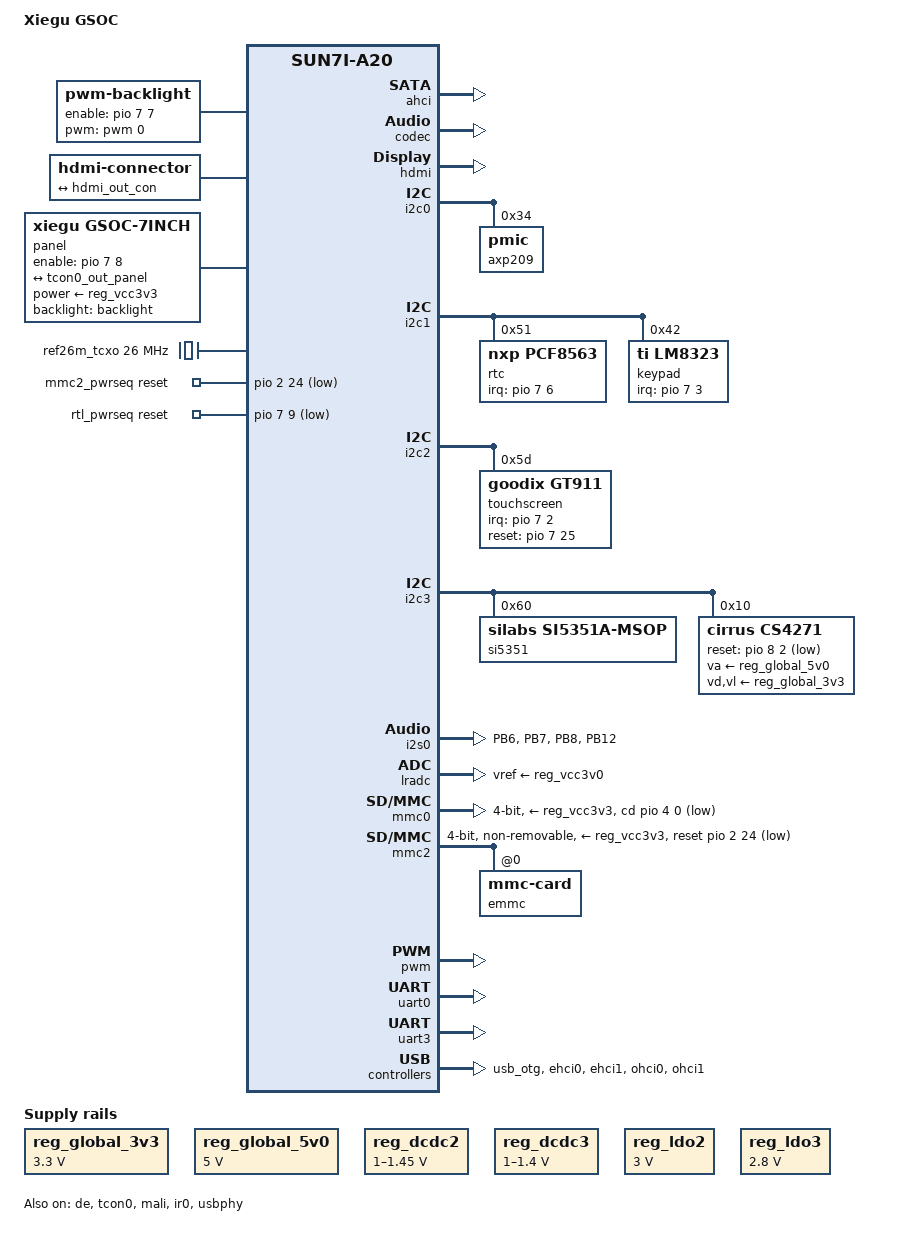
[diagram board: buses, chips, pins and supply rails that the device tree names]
// SPDX-License-Identifier: (GPL-2.0+ OR MIT)
/*
 * Xiegu GSOC head unit: Allwinner A20, AXP209, CS4271 codec, 1024x600 RGB
 * panel, GT911 touch, LM8323 keypad, Si5351 clock generator.
 *
 * Replaces the decompiled "drm-f" tree. Semantically equivalent to it
 * (see equivalence.txt); vendor oddities are kept and marked "vendor:".
 */

/dts-v1/;
#include "allwinner/sun7i-a20.dtsi"
#include "allwinner/sunxi-common-regulators.dtsi"

#include <dt-bindings/gpio/gpio.h>
#include <dt-bindings/input/input.h>
#include <dt-bindings/interrupt-controller/irq.h>
#include <dt-bindings/pwm/pwm.h>

/ {
	model = "Xiegu GSOC";
	compatible = "xiegu,gsoc", "allwinner,sun7i-a20";

	/* mmcN pins mmcblkN: SD must be mmcblk0 (root=/dev/mmcblk0p2), never eMMC */
	aliases {
		mmc0 = &mmc0;
		mmc1 = &mmc2;
		mmc2 = &mmc3;
		serial0 = &uart0;
	};

	chosen {
		stdout-path = "serial0:115200n8";
	};

	backlight: backlight {
		compatible = "pwm-backlight";
		pwms = <&pwm 0 50000 PWM_POLARITY_INVERTED>;
		enable-gpios = <&pio 7 7 GPIO_ACTIVE_HIGH>;		/* PH7 */
		brightness-levels = <0 10 20 30 40 50 60 70 80 90 100>;
		default-brightness-level = <10>;
	};

	hdmi-connector {
		compatible = "hdmi-connector";
		type = "a";

		port {
			hdmi_con_in: endpoint {
				remote-endpoint = <&hdmi_out_con>;
			};
		};
	};

	panel: panel {
		compatible = "xiegu,gsoc-7inch", "panel-dpi";
		/* panel-simple lights the backlight after the panel is up (no udev hold) */
		backlight = <&backlight>;
		power-supply = <&reg_vcc3v3>;
		enable-gpios = <&pio 7 8 GPIO_ACTIVE_HIGH>;		/* PH8 */

		panel-timing {
			clock-frequency = <45000000>;
			hactive = <1024>;
			hfront-porch = <16>;
			hback-porch = <150>;
			hsync-len = <10>;
			hsync-active = <0>;
			vactive = <600>;
			vfront-porch = <2>;
			vback-porch = <21>;
			vsync-len = <2>;
			vsync-active = <0>;
			de-active = <1>;
			pixelclk-active = <1>;
		};

		port {
			panel_in: endpoint {
				remote-endpoint = <&tcon0_out_panel>;
			};
		};
	};

	/* vendor: u-boot hands over a 1024x600 simplefb here; kept disabled */
	framebuffer@7fda8000 {
		compatible = "simple-framebuffer";
		reg = <0x7fda8000 0x258000>;
		width = <1024>;
		height = <600>;
		stride = <4096>;
		format = "x8r8g8b8";
		status = "disabled";
	};

	reserved-memory {
		/* 128 MiB default CMA; replaces the dtsi 96 MiB default-pool */
		cma_pool: cma@4a000000 {
			compatible = "shared-dma-pool";
			alloc-ranges = <0x4a000000 0x8000000>;
			size = <0x8000000>;
			reusable;
			linux,cma-default;
		};

		/* u-boot framebuffer, kept out of the kernel's linear map */
		framebuffer@7fda8000 {
			reg = <0x7fda8000 0x258000>;
			no-map;
		};
	};

	/* 3.3 V / 5 V rails with no control GPIO */
	reg_global_3v3: global-v33 {
		compatible = "regulator-fixed";
		regulator-name = "global-3v3";
		regulator-min-microvolt = <3300000>;
		regulator-max-microvolt = <3300000>;
		enable-active-high;
		startup-delay-us = <100000>;
	};

	reg_global_5v0: global-v50 {
		compatible = "regulator-fixed";
		regulator-name = "global-5v0";
		regulator-min-microvolt = <5000000>;
		regulator-max-microvolt = <5000000>;
		enable-active-high;
		startup-delay-us = <100000>;
	};

	i2s_clk: i2s-clk {
		compatible = "fixed-clock";
		#clock-cells = <0>;
		clock-frequency = <24576000>;
	};

	ref26m_tcxo: ref26M-tcxo {
		compatible = "fixed-clock";
		#clock-cells = <0>;
		clock-frequency = <26000000>;
	};

	mmc2_pwrseq: mmc2_pwrseq {
		compatible = "mmc-pwrseq-emmc";
		reset-gpios = <&pio 2 24 GPIO_ACTIVE_LOW>;		/* PC24 */
	};

	/* vendor: probes on its own and drives PH9 (USB Wi-Fi reset), no mmc user */
	rtl_pwrseq {
		compatible = "mmc-pwrseq-simple";
		reset-gpios = <&pio 7 9 GPIO_ACTIVE_LOW>;		/* PH9 */
	};

	sound {
		compatible = "simple-audio-card";
		simple-audio-card,name = "GSOC-Sound-Card";
		simple-audio-card,format = "i2s";
		simple-audio-card,mclk-fs = <128>;
		simple-audio-card,bitclock-master = <&sound_codec>;
		simple-audio-card,frame-master = <&sound_codec>;
		simple-audio-card,widgets = "Line", "Line In",
					    "Line", "Line Out";
		simple-audio-card,routing = "Line Out", "AOUTA+",
					    "Line Out", "AOUTA-",
					    "Line Out", "AOUTB+",
					    "Line Out", "AOUTB-",
					    "AINA", "Line In",
					    "AINB", "Line In";

		sound_codec: simple-audio-card,codec {
			sound-dai = <&cs4271>;
			clocks = <&i2s_clk>;
			system-clock-direction = "out";
		};

		simple-audio-card,cpu {
			/* vendor: stray trailing 0 cell, harmless with #sound-dai-cells = 0 */
			sound-dai = <&i2s0 0>;
			clocks = <&i2s_clk>;
		};
	};
};

/*
 * vendor: keep the u-boot-neutralised /chosen stubs (plain compatible, no
 * pipeline or clocks) so u-boot cannot match and enable them.
 */
&{/chosen/framebuffer-lcd0} {
	compatible = "simple-framebuffer";
	/delete-property/ allwinner,pipeline;
	/delete-property/ clocks;
};

&{/chosen/framebuffer-lcd0-hdmi} {
	compatible = "simple-framebuffer";
	/delete-property/ allwinner,pipeline;
	/delete-property/ clocks;
};

&{/chosen/framebuffer-lcd0-tve0} {
	compatible = "simple-framebuffer";
	/delete-property/ allwinner,pipeline;
	/delete-property/ clocks;
};

/delete-node/ &{/reserved-memory/default-pool};

&ahci {
	target-supply = <&reg_ahci_5v>;
	status = "okay";
};

&reg_ahci_5v {
	status = "okay";
};

/* vendor: always-on 5 V, no GPIO (PH6 is the PCF8563 interrupt, not VBUS) */
&reg_usb1_vbus {
	/delete-property/ gpio;
	/delete-property/ enable-active-high;
	regulator-always-on;
	status = "okay";
};

&codec {
	allwinner,audio-routing = "Headphone", "HP",
				  "Speaker", "LINEOUT",
				  "LINEIN", "Line In",
				  "MIC1", "HBIAS",
				  "MIC1", "Mic1",
				  "MIC2", "HBIAS",
				  "MIC2", "Mic2";
	status = "okay";
};

&de {
	status = "okay";
};

&hdmi {
	status = "okay";
};

&hdmi_out {
	hdmi_out_con: endpoint {
		remote-endpoint = <&hdmi_con_in>;
	};
};

/*
 * vendor: keep tcon0 on the plain sun7i-a20-tcon match (no LVDS support, no
 * "lvds" reset): known good for the RGB panel. The dtsi uses ...-tcon0.
 */
&tcon0 {
	compatible = "allwinner,sun7i-a20-tcon";
	resets = <&ccu RST_TCON0>;
	reset-names = "lcd";
	pinctrl-names = "default";
	pinctrl-0 = <&lcd_rgb888_pins>;
	status = "okay";
};

&tcon0_out {
	tcon0_out_panel: endpoint@0 {
		reg = <0>;
		remote-endpoint = <&panel_in>;
	};
};

&mali {
	memory-region = <&cma_pool>;
	status = "okay";
};

&i2c0 {
	status = "okay";

	axp209: pmic@34 {
		reg = <0x34>;
		interrupt-parent = <&nmi_intc>;
		interrupts = <0 IRQ_TYPE_LEVEL_LOW>;
	};
};

#include "allwinner/axp209.dtsi"

/* not in the vendor tree: no AXP temperature hwmon */
/delete-node/ &{/pmic-temp};

&ac_power_supply {
	status = "okay";
};

&reg_dcdc2 {
	regulator-always-on;
	regulator-min-microvolt = <1000000>;
	regulator-max-microvolt = <1450000>;
	regulator-name = "vdd-cpu";
};

&reg_dcdc3 {
	regulator-always-on;
	regulator-min-microvolt = <1000000>;
	regulator-max-microvolt = <1400000>;
	regulator-name = "vdd-int-dll";
};

&reg_ldo1 {
	regulator-name = "vdd-rtc";
};

&reg_ldo2 {
	regulator-always-on;
	regulator-min-microvolt = <3000000>;
	regulator-max-microvolt = <3000000>;
	regulator-name = "avcc";
};

&reg_ldo3 {
	regulator-always-on;
	regulator-min-microvolt = <2800000>;
	regulator-max-microvolt = <2800000>;
	regulator-name = "csi0-io";
};

&i2c1 {
	status = "okay";

	rtc@51 {
		compatible = "nxp,pcf8563";
		reg = <0x51>;
		interrupt-parent = <&pio>;
		interrupts = <7 6 IRQ_TYPE_EDGE_FALLING>;	/* PH6 */
		interrupt-names = "irq";
		irq-gpios = <&pio 7 6 GPIO_ACTIVE_HIGH>;
	};

	keypad@42 {
		compatible = "ti,lm8323";
		reg = <0x42>;
		interrupt-parent = <&pio>;
		interrupts = <7 3 IRQ_TYPE_EDGE_FALLING>;	/* PH3 */
		interrupt-names = "irq";
		irq-gpios = <&pio 7 3 GPIO_ACTIVE_HIGH>;
		size_x = <4>;
		size_y = <4>;
		debounce_time = <2>;
		active_time = <1000>;
	};
};

&i2c2 {
	status = "okay";

	touchscreen@5d {
		compatible = "goodix,gt911";
		reg = <0x5d>;
		interrupt-parent = <&pio>;
		interrupts = <7 2 IRQ_TYPE_EDGE_FALLING>;	/* PH2 */
		interrupt-names = "irq";
		irq-gpios = <&pio 7 2 GPIO_ACTIVE_HIGH>;
		reset-gpios = <&pio 7 25 GPIO_ACTIVE_HIGH>;	/* PH25 */
		gt911,cfg-data = [00 00 04 58 02 05 3d 20 01 08 28 05 50 32 03 05 00 00 00 00 00 00 05 17 19 1c 14 87 29 0a 19 1b d6 07 00 00 00 01 03 10 00 01 00 00 00 03 64 32 00 00 00 0f 2d 94 c5 02 07 00 00 04 c0 10 00 9c 14 00 7b 1a 00 66 20 00 54 28 00 54 00 00 00 00 00 00 00 00 00 00 00 00 00 00 00 00 00 00 00 00 00 00 00 00 00 00 00 00 00 00 00 00 00 00 00 00 02 04 06 08 0a 0c 0e 10 12 14 ff ff ff ff ff ff ff ff ff ff ff ff ff ff ff ff ff ff ff ff 00 02 04 06 08 0a 0c 1d 1e 1f 20 21 22 24 26 28 ff ff ff ff ff ff ff ff ff ff ff ff ff ff ff ff ff ff ff ff ff ff ff ff ff ff bb 01];
	};
};

&i2c3 {
	status = "okay";

	si5351: clock-generator@60 {
		compatible = "silabs,si5351a-msop";
		reg = <0x60>;
		#address-cells = <1>;
		#size-cells = <0>;
		#clock-cells = <1>;
		clock-names = "xtal";
		clocks = <&ref26m_tcxo>;
		silabs,pll-source = <0 0>, <1 0>;

		clkout0 {
			reg = <0>;
			silabs,clock-source = <0>;
			silabs,drive-strength = <2>;
			silabs,multisynth-source = <0>;
			silabs,pll-master;
			clock-frequency = <140909800>;
		};

		clkout1 {
			reg = <1>;
			silabs,clock-source = <1>;
		};

		clkout2 {
			reg = <2>;
			silabs,clock-source = <0>;
			silabs,drive-strength = <2>;
			silabs,multisynth-source = <1>;
			silabs,pll-master;
			clock-frequency = <25600000>;
		};
	};

	cs4271: codec@10 {
		compatible = "cirrus,cs4271";
		reg = <0x10>;
		#sound-dai-cells = <0>;
		reset-gpio = <&pio 8 2 GPIO_ACTIVE_LOW>;	/* PI2 */
		va-supply = <&reg_global_5v0>;
		vd-supply = <&reg_global_3v3>;
		vl-supply = <&reg_global_3v3>;
		amutec-eq-bmutec = <0>;
		enable-soft-reset = <1>;
	};
};

&i2s0 {
	pinctrl-names = "default";
	pinctrl-0 = <&i2s0_pins>;
	status = "okay";
};

&ir0 {
	pinctrl-names = "default";
	pinctrl-0 = <&ir0_rx_pin>;
	status = "okay";
};

&lradc {
	vref-supply = <&reg_vcc3v0>;
	status = "okay";

	button-191 {
		label = "Volume Up";
		linux,code = <KEY_VOLUMEUP>;
		channel = <0>;
		voltage = <191274>;
	};

	button-392 {
		label = "Volume Down";
		linux,code = <KEY_VOLUMEDOWN>;
		channel = <0>;
		voltage = <392644>;
	};

	button-601 {
		label = "Menu";
		linux,code = <KEY_MENU>;
		channel = <0>;
		voltage = <601151>;
	};

	button-795 {
		label = "Search";
		linux,code = <KEY_SEARCH>;
		channel = <0>;
		voltage = <795090>;
	};

	button-987 {
		label = "Home";
		linux,code = <KEY_HOMEPAGE>;
		channel = <0>;
		voltage = <987387>;
	};

	button-1184 {
		label = "Esc";
		linux,code = <KEY_ESC>;
		channel = <0>;
		voltage = <1184678>;
	};

	button-1398 {
		label = "Enter";
		linux,code = <KEY_ENTER>;
		channel = <0>;
		voltage = <1398804>;
	};
};

/* SD card slot */
&mmc0 {
	vmmc-supply = <&reg_vcc3v3>;
	bus-width = <4>;
	cd-gpios = <&pio 4 0 GPIO_ACTIVE_LOW>;			/* PE0 */
	status = "okay";
};

/* on-board eMMC */
&mmc2 {
	vmmc-supply = <&reg_vcc3v3>;
	bus-width = <4>;
	non-removable;
	mmc-pwrseq = <&mmc2_pwrseq>;
	reset-gpios = <&pio 2 24 GPIO_ACTIVE_LOW>;		/* PC24 */
	status = "okay";

	emmc@0 {
		compatible = "mmc-card";
		reg = <0>;
		broken-hpi;
	};
};

/* AP6210 SDIO footprint unpopulated: controller stays disabled */
&mmc3 {
	vmmc-supply = <&reg_vcc3v3>;
	bus-width = <4>;
	non-removable;
	status = "disabled";

	wifi@1 {
		compatible = "brcm,bcm4329-fmac";
		reg = <1>;
		interrupt-parent = <&pio>;
		interrupts = <7 10 IRQ_TYPE_LEVEL_LOW>;		/* PH10 */
		interrupt-names = "host-wake";
	};
};

&otg_sram {
	status = "okay";
};

&pio {
	/* I2S0 BCLK/LRCK/DO/DI; PB5 (MCLK) left unmuxed as in the vendor tree */
	i2s0_pins: i2s0-pins {
		pins = "PB6", "PB7", "PB8", "PB12";
		function = "i2s0";
	};

	lcd_rgb888_pins: lcd-rgb888-pins {
		pins = "PD0", "PD1", "PD2", "PD3", "PD4", "PD5", "PD6",
		       "PD7", "PD8", "PD9", "PD10", "PD11", "PD12", "PD13",
		       "PD14", "PD15", "PD16", "PD17", "PD18", "PD19",
		       "PD20", "PD21", "PD22", "PD23", "PD24", "PD25",
		       "PD26", "PD27";
		function = "lcd0";
	};
};

&pwm {
	pinctrl-names = "default";
	pinctrl-0 = <&pwm0_pin>, <&pwm1_pin>;
	status = "okay";
};

&uart0 {
	pinctrl-names = "default";
	pinctrl-0 = <&uart0_pb_pins>;
	status = "okay";
};

&uart3 {
	pinctrl-names = "default";
	pinctrl-0 = <&uart3_ph_pins>;
	status = "okay";
};

&usb_otg {
	extcon = <&usbphy 0>;
	status = "okay";
};

&usbphy {
	usb0_id_det-gpios = <&pio 7 4 (GPIO_ACTIVE_HIGH | GPIO_PULL_UP)>;	/* PH4 */
	usb0_vbus_det-gpios = <&pio 7 17 (GPIO_ACTIVE_HIGH | GPIO_PULL_DOWN)>;	/* PH17 */
	usb0_vbus-supply = <&reg_global_5v0>;
	usb1_vbus-supply = <&reg_global_5v0>;
	usb2_vbus-supply = <&reg_global_5v0>;
	status = "okay";
};

&ehci0 {
	status = "okay";
};

&ehci1 {
	status = "okay";
};

&ohci0 {
	status = "okay";
};

&ohci1 {
	status = "okay";
};
